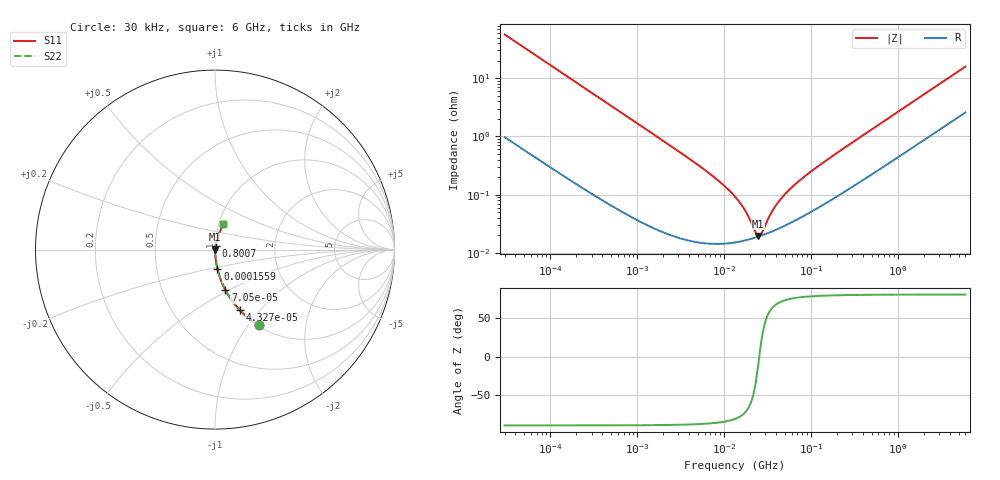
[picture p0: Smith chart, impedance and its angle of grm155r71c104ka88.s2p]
!Murata Part Number:GRM155R71C104KA88
!These Parameters are Measured in Series Mode Connection
!  o--ll--o
!Port1  Port2
!  o------o
!Operation Temp=25[C], DC Bias Voltage=0[V]
!Freq. Start=30[kHz] Stop=6[GHz], 201[Steps]
# Hz S DB R 50
!Freq.[Hz] MagS11[dB] PhaseS11[DEG] MagS21[dB] PhaseS21[DEG] MagS12[dB] PhaseS12[DEG] MagS22[dB] PhaseS22[DEG]
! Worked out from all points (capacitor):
!   201 points, 30 kHz to 6 GHz, reference 50 ohm
!   read as one part in series: C = 93.9 nF near 31.89 kHz
!   lowest |Z| = 19.4 mohm at 24.7 MHz (marker M1)
!   series resonance near 25.5 MHz, so ESL is about 410 pH
!   S11 on the Smith chart (normalised r, x): 30 kHz: 1.02, -1.13; 43.27 kHz: 1.01, -0.78; 70.5 kHz: 1.01, -0.48; 155.9 kHz: 1.00, -0.22; 800.7 MHz: 1.01, +0.04; 6 GHz: 1.05, +0.31
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30000  -6.23 -59.8  -1.27 29.2  -1.27 29.2  -6.23 -59.8
43267  -8.81 -67.8  -0.67 21.2  -0.67 21.2  -8.81 -67.8
70501  -12.66 -75.5  -0.28 13.5  -0.28 13.5  -12.66 -75.5
155869  -19.34 -82.8  -0.07 6.2  -0.07 6.2  -19.34 -82.8
238944  -23.02 -84.9  -0.03 4.1  -0.03 4.1  -23.02 -84.9
561524  -30.42 -87.2  -0.01 1.7  -0.01 1.7  -30.42 -87.2
1790467  -40.52 -88.0  -0.00 0.5  -0.00 0.5  -40.52 -88.0
7287604  -53.39 -86.0  -0.00 0.1  -0.00 0.1  -53.39 -86.0
1.051031e7  -57.42 -83.8  -0.00 0.1  -0.00 0.1  -57.42 -83.8
1.341641e7  -60.67 -80.5  -0.00 0.1  -0.00 0.1  -60.67 -80.5
1.611208e7  -63.73 -75.8  -0.00 0.0  -0.00 0.0  -63.73 -75.8
1.82038e7  -66.28 -70.0  -0.00 0.0  -0.00 0.0  -66.28 -70.0
2.323714e7  -73.09 -33.8  -0.00 0.0  -0.00 0.0  -73.09 -33.8
2.469948e7  -74.23 -12.5  -0.00 0.0  -0.00 0.0  -74.23 -12.5
2.625384e7  -74.00 11.3  -0.00 -0.0  -0.00 -0.0  -74.00 11.3
3.562203e7  -65.86 62.8  -0.00 -0.0  -0.00 -0.0  -65.86 62.8
4.54715e7  -61.33 71.4  -0.00 -0.0  -0.00 -0.0  -61.33 71.4
6.557981e7  -56.51 76.1  -0.00 -0.1  -0.00 -0.1  -56.51 76.1
1.068591e8  -51.44 78.4  -0.00 -0.2  -0.00 -0.2  -51.44 78.4
8.007212e8  -33.53 79.3  -0.03 -1.2  -0.03 -1.2  -33.53 79.3
2.553167e9  -23.53 76.8  -0.11 -3.8  -0.11 -3.8  -23.53 76.8
6e9  -16.32 72.0  -0.32 -8.7  -0.32 -8.7  -16.32 72.0
